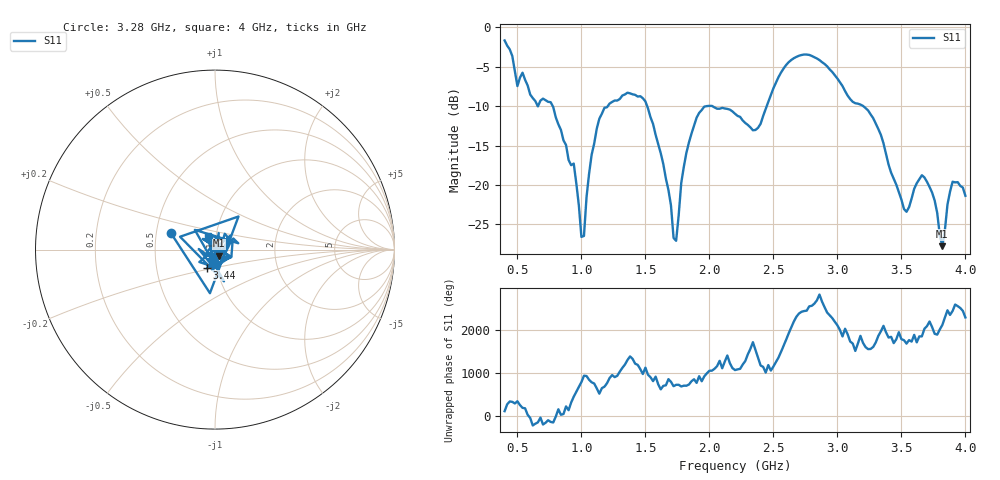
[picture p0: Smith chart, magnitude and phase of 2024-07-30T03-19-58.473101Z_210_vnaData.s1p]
!Created with skrf (http://scikit-rf.org).
# Hz S RI R 50.0
!freq ReS11 ImS11
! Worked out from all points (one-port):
!   181 points, 400 MHz to 4 GHz, reference 50 ohm
!   lowest |S11| = -27.8 dB at 3.82 GHz (marker M1), VSWR 1.09, Z = 52.3 - j3.5 ohm
!   |S11| at or under -10 dB: 776 MHz to 1.206 GHz (430 MHz wide, 43.4 % of centre); 1.514 GHz to 1.979 GHz (464.9 MHz wide, 26.6 % of centre); 3.202 GHz to end of sweep (the widest 3 of 5)
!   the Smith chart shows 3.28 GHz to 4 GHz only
!   S11 on the Smith chart (normalised r, x): 3.28 GHz: 0.59, +0.12; 3.44 GHz: 0.90, -0.18; 4 GHz: 0.91, +0.14
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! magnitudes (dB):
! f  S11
! 400 MHz  -1.7
! 500 MHz  -7.5
! 760 MHz  -9.5
! 860 MHz  -14.3
! 940 MHz  -17.3
! 1 GHz  -26.6
! 1.02 GHz  -26.5
! 1.06 GHz  -18.6
! 1.14 GHz  -11.6
! 1.3 GHz  -9.1
! 1.5 GHz  -9.4
! 1.64 GHz  -17.4
! 1.72 GHz  -26.7
! 1.76 GHz  -23.9
! 1.82 GHz  -16.0
! 1.92 GHz  -10.9
! 2.2 GHz  -11.0
! 2.38 GHz  -12.8
! 2.66 GHz  -3.9
! 2.86 GHz  -4.2
! 3.1 GHz  -9.1
! 3.28 GHz  -11.5
! 3.44 GHz  -19.2
! 3.56 GHz  -22.8
! 3.68 GHz  -19.1
! 3.82 GHz  -27.8
! 3.9 GHz  -19.6
! 4 GHz  -21.4
